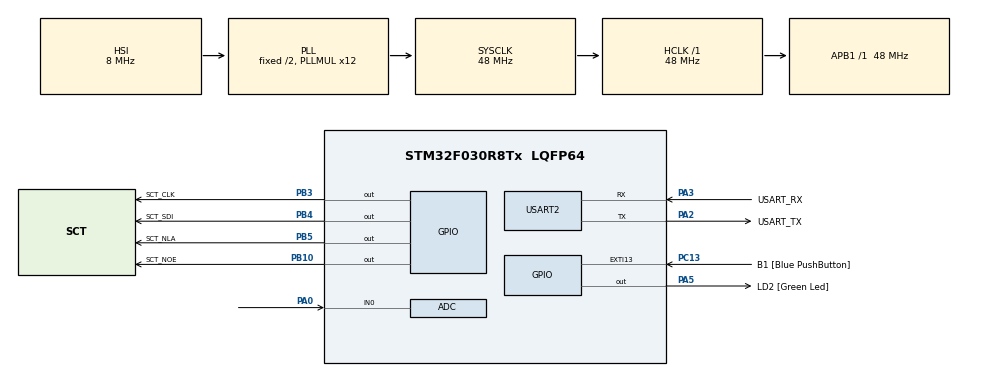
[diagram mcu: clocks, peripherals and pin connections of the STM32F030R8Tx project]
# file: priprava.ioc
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ADC.ContinuousConvMode=ENABLE
ADC.Overrun=ADC_OVR_DATA_OVERWRITTEN
ADC.SamplingTime=ADC_SAMPLETIME_239CYCLES_5
Mcu.Family=STM32F0
Mcu.Name=STM32F030R8Tx
Mcu.Package=LQFP64
NVIC.ADC1_IRQn=true\:0\:0\:false\:false\:true\:true\:true\:true
PA0.Mode=IN0
PA0.Signal=ADC_IN0
PA13.GPIO_Label=TMS
PA13.Mode=Serial_Wire
PA13.Signal=SYS_SWDIO
PA14.GPIO_Label=TCK
PA14.Mode=Serial_Wire
PA14.Signal=SYS_SWCLK
PA2.GPIO_Label=USART_TX
PA2.GPIO_Mode=GPIO_MODE_AF_PP
PA2.GPIO_PuPd=GPIO_NOPULL
PA2.GPIO_Speed=GPIO_SPEED_FREQ_LOW
PA2.Mode=Asynchronous
PA2.Signal=USART2_TX
PA3.GPIO_Label=USART_RX
PA3.GPIO_Mode=GPIO_MODE_AF_PP
PA3.GPIO_PuPd=GPIO_NOPULL
PA3.GPIO_Speed=GPIO_SPEED_FREQ_LOW
PA3.Mode=Asynchronous
PA3.Signal=USART2_RX
PA5.GPIO_Label=LD2 [Green Led]
PA5.GPIO_Mode=GPIO_MODE_OUTPUT_PP
PA5.GPIO_PuPd=GPIO_NOPULL
PA5.GPIO_Speed=GPIO_SPEED_FREQ_LOW
PA5.Signal=GPIO_Output
PB10.GPIO_Label=SCT_NOE
PB10.Signal=GPIO_Output
PB3.GPIO_Label=SCT_CLK
PB3.Signal=GPIO_Output
PB4.GPIO_Label=SCT_SDI
PB4.Signal=GPIO_Output
PB5.GPIO_Label=SCT_NLA
PB5.Signal=GPIO_Output
PC13.GPIO_Label=B1 [Blue PushButton]
PC13.GPIO_ModeDefaultEXTI=GPIO_MODE_IT_FALLING
PC13.Signal=GPXTI13
PC14-OSC32_IN.Mode=LSE-External-Oscillator
PC14-OSC32_IN.Signal=RCC_OSC32_IN
PC15-OSC32_OUT.Mode=LSE-External-Oscillator
PC15-OSC32_OUT.Signal=RCC_OSC32_OUT
PF0-OSC_IN.Mode=HSE-External-Clock-Source
PF0-OSC_IN.Signal=RCC_OSC_IN
PF1-OSC_OUT.Signal=RCC_OSC_OUT
ProjectManager.HeapSize=0x200
ProjectManager.StackSize=0x400
ProjectManager.TargetToolchain=STM32CubeIDE
RCC.AHBFreq_Value=48000000
RCC.APB1Freq_Value=48000000
RCC.APB1TimFreq_Value=48000000
RCC.HCLKFreq_Value=48000000
RCC.PLLMUL=RCC_PLL_MUL12
RCC.SYSCLKFreq_VALUE=48000000
RCC.SYSCLKSource=RCC_SYSCLKSOURCE_PLLCLK
USART2.VirtualMode-Asynchronous=VM_ASYNC
board=NUCLEO-F030R8

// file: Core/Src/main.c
/* USER CODE BEGIN Header */
/**
  ******************************************************************************
  * @file           : main.c
  * @brief          : Main program body
  ******************************************************************************
  * @attention
  *
  * Copyright (c) 2024 STMicroelectronics.
  * All rights reserved.
  *
  * This software is licensed under terms that can be found in the LICENSE file
  * in the root directory of this software component.
  * If no LICENSE file comes with this software, it is provided AS-IS.
  *
  ******************************************************************************
  */
/* USER CODE END Header */
#include "main.h"

/* USER CODE BEGIN Includes */
#include "sct.h"

/* USER CODE END Includes */

/* USER CODE BEGIN PD */
#define ADC_Q  6

/* USER CODE END PD */

ADC_HandleTypeDef hadc;

UART_HandleTypeDef huart2;

/* USER CODE BEGIN PV */
static volatile uint32_t raw_pot;

/* USER CODE END PV */

void SystemClock_Config(void);
static void MX_GPIO_Init(void);
static void MX_USART2_UART_Init(void);
static void MX_ADC_Init(void);

int main(void)
{

  /* MCU Configuration--------------------------------------------------------*/

  /* Reset of all peripherals, Initializes the Flash interface and the Systick. */
  HAL_Init();

  /* Configure the system clock */
  SystemClock_Config();

  /* Initialize all configured peripherals */
  MX_GPIO_Init();
  MX_USART2_UART_Init();
  MX_ADC_Init();
  /* USER CODE BEGIN 2 */

  sct_init();
  sct_led(0x0);
  HAL_Delay(1000);

  HAL_ADCEx_Calibration_Start(&hadc);
  HAL_ADC_Start_IT(&hadc);

  /* USER CODE END 2 */

  /* Infinite loop */
  while (1)
  {

	  /* USER CODE BEGIN 3 */

	  uint16_t speed;

	  for(uint8_t a=0; a <9; a++){
		  speed = (raw_pot * 481) / 4096 +20;
		  sct_value(speed,a);
		  HAL_Delay(speed);
	  }

	  for(uint8_t a=9; a >0; a--){
		  speed = (raw_pot * 481) / 4096 +20;
		  sct_value(speed,a);
		  HAL_Delay(speed);
	  }
  }
  /* USER CODE END 3 */
}

void SystemClock_Config(void)
{
  RCC_OscInitTypeDef RCC_OscInitStruct = {0};
  RCC_ClkInitTypeDef RCC_ClkInitStruct = {0};

  /** Initializes the RCC Oscillators according to the specified parameters
  * in the RCC_OscInitTypeDef structure.
  */
  RCC_OscInitStruct.OscillatorType = RCC_OSCILLATORTYPE_HSI|RCC_OSCILLATORTYPE_HSI14;
  RCC_OscInitStruct.HSIState = RCC_HSI_ON;
  RCC_OscInitStruct.HSI14State = RCC_HSI14_ON;
  RCC_OscInitStruct.HSICalibrationValue = RCC_HSICALIBRATION_DEFAULT;
  RCC_OscInitStruct.HSI14CalibrationValue = 16;
  RCC_OscInitStruct.PLL.PLLState = RCC_PLL_ON;
  RCC_OscInitStruct.PLL.PLLSource = RCC_PLLSOURCE_HSI;
  RCC_OscInitStruct.PLL.PLLMUL = RCC_PLL_MUL12;
  RCC_OscInitStruct.PLL.PREDIV = RCC_PREDIV_DIV1;
  if (HAL_RCC_OscConfig(&RCC_OscInitStruct) != HAL_OK)
  {
    Error_Handler();
  }

  /** Initializes the CPU, AHB and APB buses clocks
  */
  RCC_ClkInitStruct.ClockType = RCC_CLOCKTYPE_HCLK|RCC_CLOCKTYPE_SYSCLK
                              |RCC_CLOCKTYPE_PCLK1;
  RCC_ClkInitStruct.SYSCLKSource = RCC_SYSCLKSOURCE_PLLCLK;
  RCC_ClkInitStruct.AHBCLKDivider = RCC_SYSCLK_DIV1;
  RCC_ClkInitStruct.APB1CLKDivider = RCC_HCLK_DIV1;

  if (HAL_RCC_ClockConfig(&RCC_ClkInitStruct, FLASH_LATENCY_1) != HAL_OK)
  {
    Error_Handler();
  }
}

static void MX_ADC_Init(void)
{

  ADC_ChannelConfTypeDef sConfig = {0};

  /** Configure the global features of the ADC (Clock, Resolution, Data Alignment and number of conversion)
  */
  hadc.Instance = ADC1;
  hadc.Init.ClockPrescaler = ADC_CLOCK_ASYNC_DIV1;
  hadc.Init.Resolution = ADC_RESOLUTION_12B;
  hadc.Init.DataAlign = ADC_DATAALIGN_RIGHT;
  hadc.Init.ScanConvMode = ADC_SCAN_DIRECTION_FORWARD;
  hadc.Init.EOCSelection = ADC_EOC_SINGLE_CONV;
  hadc.Init.LowPowerAutoWait = DISABLE;
  hadc.Init.LowPowerAutoPowerOff = DISABLE;
  hadc.Init.ContinuousConvMode = ENABLE;
  hadc.Init.DiscontinuousConvMode = DISABLE;
  hadc.Init.ExternalTrigConv = ADC_SOFTWARE_START;
  hadc.Init.ExternalTrigConvEdge = ADC_EXTERNALTRIGCONVEDGE_NONE;
  hadc.Init.DMAContinuousRequests = DISABLE;
  hadc.Init.Overrun = ADC_OVR_DATA_OVERWRITTEN;
  if (HAL_ADC_Init(&hadc) != HAL_OK)
  {
    Error_Handler();
  }

  /** Configure for the selected ADC regular channel to be converted.
  */
  sConfig.Channel = ADC_CHANNEL_0;
  sConfig.Rank = ADC_RANK_CHANNEL_NUMBER;
  sConfig.SamplingTime = ADC_SAMPLETIME_239CYCLES_5;
  if (HAL_ADC_ConfigChannel(&hadc, &sConfig) != HAL_OK)
  {
    Error_Handler();
  }

}

static void MX_USART2_UART_Init(void)
{

  huart2.Instance = USART2;
  huart2.Init.BaudRate = 38400;
  huart2.Init.WordLength = UART_WORDLENGTH_8B;
  huart2.Init.StopBits = UART_STOPBITS_1;
  huart2.Init.Parity = UART_PARITY_NONE;
  huart2.Init.Mode = UART_MODE_TX_RX;
  huart2.Init.HwFlowCtl = UART_HWCONTROL_NONE;
  huart2.Init.OverSampling = UART_OVERSAMPLING_16;
  huart2.Init.OneBitSampling = UART_ONE_BIT_SAMPLE_DISABLE;
  huart2.AdvancedInit.AdvFeatureInit = UART_ADVFEATURE_NO_INIT;
  if (HAL_UART_Init(&huart2) != HAL_OK)
  {
    Error_Handler();
  }

}

static void MX_GPIO_Init(void)
{
  GPIO_InitTypeDef GPIO_InitStruct = {0};

  /* GPIO Ports Clock Enable */
  __HAL_RCC_GPIOC_CLK_ENABLE();
  __HAL_RCC_GPIOF_CLK_ENABLE();
  __HAL_RCC_GPIOA_CLK_ENABLE();
  __HAL_RCC_GPIOB_CLK_ENABLE();

  /*Configure GPIO pin Output Level */
  HAL_GPIO_WritePin(LD2_GPIO_Port, LD2_Pin, GPIO_PIN_RESET);

  /*Configure GPIO pin Output Level */
  HAL_GPIO_WritePin(GPIOB, SCT_NOE_Pin|SCT_CLK_Pin|SCT_SDI_Pin|SCT_NLA_Pin, GPIO_PIN_RESET);

  /*Configure GPIO pin : B1_Pin */
  GPIO_InitStruct.Pin = B1_Pin;
  GPIO_InitStruct.Mode = GPIO_MODE_IT_FALLING;
  GPIO_InitStruct.Pull = GPIO_NOPULL;
  HAL_GPIO_Init(B1_GPIO_Port, &GPIO_InitStruct);

  /*Configure GPIO pin : LD2_Pin */
  GPIO_InitStruct.Pin = LD2_Pin;
  GPIO_InitStruct.Mode = GPIO_MODE_OUTPUT_PP;
  GPIO_InitStruct.Pull = GPIO_NOPULL;
  GPIO_InitStruct.Speed = GPIO_SPEED_FREQ_LOW;
  HAL_GPIO_Init(LD2_GPIO_Port, &GPIO_InitStruct);

  /*Configure GPIO pins : SCT_NOE_Pin SCT_CLK_Pin SCT_SDI_Pin SCT_NLA_Pin */
  GPIO_InitStruct.Pin = SCT_NOE_Pin|SCT_CLK_Pin|SCT_SDI_Pin|SCT_NLA_Pin;
  GPIO_InitStruct.Mode = GPIO_MODE_OUTPUT_PP;
  GPIO_InitStruct.Pull = GPIO_NOPULL;
  GPIO_InitStruct.Speed = GPIO_SPEED_FREQ_LOW;
  HAL_GPIO_Init(GPIOB, &GPIO_InitStruct);

}

/* USER CODE BEGIN 4 */
void HAL_ADC_ConvCpltCallback(ADC_HandleTypeDef* hadc){

	//static uint8_t channel;
	static uint32_t avg_pot;

		raw_pot = avg_pot >> ADC_Q;
		avg_pot -= raw_pot;
		avg_pot += HAL_ADC_GetValue(hadc);

	//if (__HAL_ADC_GET_FLAG(hadc, ADC_FLAG_EOS)) channel = 0;

}
/* USER CODE END 4 */

void Error_Handler(void)
{
  __disable_irq();
  while (1)
  {
  }
}
